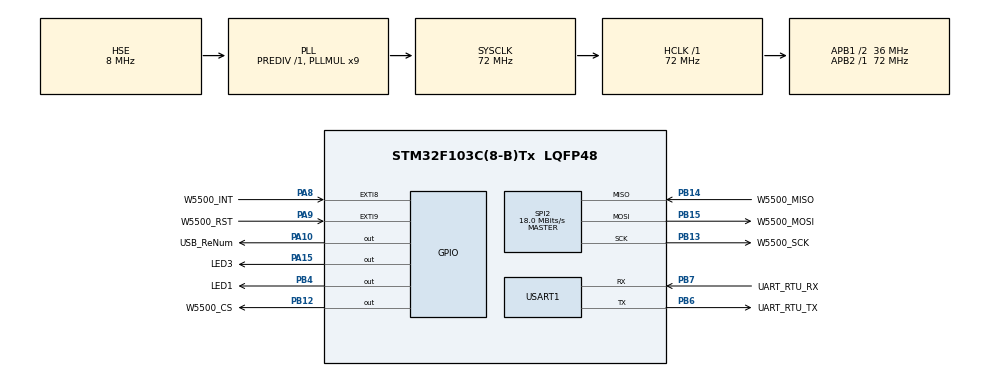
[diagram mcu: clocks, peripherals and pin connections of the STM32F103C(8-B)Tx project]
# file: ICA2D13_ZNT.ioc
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Dma.Request0=SPI2_RX
Dma.Request1=SPI2_TX
Dma.SPI2_RX.0.Direction=DMA_PERIPH_TO_MEMORY
Dma.SPI2_RX.0.Instance=DMA1_Channel4
Dma.SPI2_RX.0.MemDataAlignment=DMA_MDATAALIGN_BYTE
Dma.SPI2_RX.0.MemInc=DMA_MINC_ENABLE
Dma.SPI2_RX.0.Mode=DMA_NORMAL
Dma.SPI2_RX.0.PeriphDataAlignment=DMA_PDATAALIGN_BYTE
Dma.SPI2_RX.0.PeriphInc=DMA_PINC_DISABLE
Dma.SPI2_RX.0.Priority=DMA_PRIORITY_LOW
Dma.SPI2_TX.1.Direction=DMA_MEMORY_TO_PERIPH
Dma.SPI2_TX.1.Instance=DMA1_Channel5
Dma.SPI2_TX.1.MemDataAlignment=DMA_MDATAALIGN_BYTE
Dma.SPI2_TX.1.MemInc=DMA_MINC_ENABLE
Dma.SPI2_TX.1.Mode=DMA_NORMAL
Dma.SPI2_TX.1.PeriphDataAlignment=DMA_PDATAALIGN_BYTE
Dma.SPI2_TX.1.PeriphInc=DMA_PINC_DISABLE
Dma.SPI2_TX.1.Priority=DMA_PRIORITY_LOW
FREERTOS.HEAP_NUMBER=2
FREERTOS.Tasks01=defaultTask,24,256,StartDefaultTask,Default,NULL,Dynamic,NULL,NULL
FREERTOS.configTOTAL_HEAP_SIZE=5120
Mcu.Family=STM32F1
Mcu.Name=STM32F103C(8-B)Tx
Mcu.Package=LQFP48
Mcu.UserConstants=TIM_LED_PERIOD,1000-1;TIM_LED_PSC,72-1
NVIC.DMA1_Channel4_IRQn=true\:1\:0\:true\:false\:true\:false\:false\:true\:true
NVIC.DMA1_Channel5_IRQn=true\:1\:0\:true\:false\:true\:false\:false\:true\:true
NVIC.EXTI9_5_IRQn=true\:5\:0\:false\:false\:true\:true\:true\:true\:true
NVIC.PriorityGroup=NVIC_PRIORITYGROUP_4
NVIC.TIM4_IRQn=true\:15\:0\:false\:false\:true\:false\:false\:true\:true
NVIC.TimeBase=TIM4_IRQn
NVIC.TimeBaseIP=TIM4
NVIC.USART1_IRQn=true\:5\:0\:false\:false\:true\:true\:true\:true\:true
PA10.GPIO_Label=USB_ReNum
PA10.Signal=GPIO_Output
PA13.Mode=Serial_Wire
PA13.Signal=SYS_JTMS-SWDIO
PA14.Mode=Serial_Wire
PA14.Signal=SYS_JTCK-SWCLK
PA15.GPIO_Label=LED3
PA15.Signal=GPIO_Output
PA8.GPIO_Label=W5500_INT
PA8.Signal=GPXTI8
PA9.GPIO_Label=W5500_RST
PA9.GPIO_ModeDefaultEXTI=GPIO_MODE_IT_FALLING
PA9.GPIO_PuPd=GPIO_PULLUP
PA9.Signal=GPXTI9
PB12.GPIO_Label=W5500_CS
PB12.Signal=GPIO_Output
PB13.GPIO_Label=W5500_SCK
PB13.Mode=Full_Duplex_Master
PB13.Signal=SPI2_SCK
PB14.GPIO_Label=W5500_MISO
PB14.Mode=Full_Duplex_Master
PB14.Signal=SPI2_MISO
PB15.GPIO_Label=W5500_MOSI
PB15.Mode=Full_Duplex_Master
PB15.Signal=SPI2_MOSI
PB4.GPIO_Label=LED1
PB4.Signal=GPIO_Output
PB6.GPIO_Label=UART_RTU_TX
PB6.Mode=Asynchronous
PB6.Signal=USART1_TX
PB7.GPIO_Label=UART_RTU_RX
PB7.Mode=Asynchronous
PB7.Signal=USART1_RX
PD0-OSC_IN.Mode=HSE-External-Oscillator
PD0-OSC_IN.Signal=RCC_OSC_IN
PD1-OSC_OUT.Mode=HSE-External-Oscillator
PD1-OSC_OUT.Signal=RCC_OSC_OUT
ProjectManager.HeapSize=0x0000
ProjectManager.StackSize=0x1400
ProjectManager.TargetToolchain=Makefile
RCC.ADCPresc=RCC_ADCPCLK2_DIV6
RCC.AHBFreq_Value=72000000
RCC.APB1CLKDivider=RCC_HCLK_DIV2
RCC.APB1Freq_Value=36000000
RCC.APB1TimFreq_Value=72000000
RCC.APB2Freq_Value=72000000
RCC.APB2TimFreq_Value=72000000
RCC.HCLKFreq_Value=72000000
RCC.PLLMUL=RCC_PLL_MUL9
RCC.PLLSourceVirtual=RCC_PLLSOURCE_HSE
RCC.SYSCLKFreq_VALUE=72000000
RCC.SYSCLKSource=RCC_SYSCLKSOURCE_PLLCLK
RCC.USBFreq_Value=48000000
RCC.USBPrescaler=RCC_USBCLKSOURCE_PLL_DIV1_5
SPI2.BaudRatePrescaler=SPI_BAUDRATEPRESCALER_2
SPI2.CalculateBaudRate=18.0 MBits/s
SPI2.Direction=SPI_DIRECTION_2LINES
SPI2.Mode=SPI_MODE_MASTER
SPI2.VirtualType=VM_MASTER
TIM2.Period=TIM_LED_PERIOD
TIM2.Prescaler=TIM_LED_PSC
USART1.VirtualMode=VM_ASYNC
VP_FREERTOS_VS_CMSIS_V2.Mode=CMSIS_V2
VP_SYS_VS_tim4.Mode=TIM4
VP_TIM2_VS_ClockSourceINT.Mode=Internal
board=custom

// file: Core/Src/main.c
/* USER CODE BEGIN Header */
/**
  ******************************************************************************
  * @file           : main.c
  * @brief          : Main program body
  ******************************************************************************
  * @attention
  *
  * Copyright (c) 2022 STMicroelectronics.
  * All rights reserved.
  *
  * This software is licensed under terms that can be found in the LICENSE file
  * in the root directory of this software component.
  * If no LICENSE file comes with this software, it is provided AS-IS.
  *
  ******************************************************************************
  */
/* USER CODE END Header */
#include "main.h"
#include "cmsis_os.h"
#include "dma.h"
#include "spi.h"
#include "tim.h"
#include "usart.h"
#include "gpio.h"

/* USER CODE BEGIN Includes */
// #include "net.h"
// #include "enc28j60.h"

#include "Eth.h"
#include <string.h>
/* USER CODE END Includes */

void SystemClock_Config(void);
void MX_FREERTOS_Init(void);

/* USER CODE BEGIN 0 */

// wiz_NetInfo netInfoCheck;
// wiz_NetInfo netInfo = {.mac = {0x00, 0x08, 0xdc, 0xab, 0xcd, 0xef}, // Mac-адрес
//                          .ip = {192, 168, 0, 147}, // IP-адрес
//                          .sn = {255, 255, 255, 0}, // Маска подсети
//                          .gw = {192, 168, 0,   1}, // Адрес шлюза
//                          .dhcp = NETINFO_DHCP
//                          };

/* USER CODE END 0 */

int main(void)
{

  /* MCU Configuration--------------------------------------------------------*/

  /* Reset of all peripherals, Initializes the Flash interface and the Systick. */
  HAL_Init();

  /* Configure the system clock */
  SystemClock_Config();

  /* Initialize all configured peripherals */
  MX_GPIO_Init();
  MX_DMA_Init();
  MX_SPI2_Init();
  MX_TIM2_Init();
  MX_USART1_UART_Init();
  /* USER CODE BEGIN 2 */

  //LL_GPIO_SetOutputPin(O_D_Led_GPIO_Port, O_D_Led_Pin);

  MAIN_DBG_MCU_START();
  LL_GPIO_SetOutputPin(USB_ReNum_GPIO_Port,USB_ReNum_Pin);

  // char buf[20];
  // __IO char *token = strtok(buf, "&");
  // asm("NOP");
  // if(token != NULL){
  //   asm("NOP");
  // }
  /* USER CODE END 2 */

  /* Init scheduler */
  osKernelInitialize();  /* Call init function for freertos objects (in freertos.c) */
  MX_FREERTOS_Init();

  /* Start scheduler */
  osKernelStart();

  /* We should never get here as control is now taken by the scheduler */
  /* Infinite loop */
  /* USER CODE BEGIN WHILE */
  while (1)
  {

    // controlStateDHCP = DHCP_run();
    // switch (controlStateDHCP) {
    //         case DHCP_IP_ASSIGN:
    //             // usb_send_message("IP assigned\n");
    //             wizchip_getnetinfo(&netInfoCheck);
    //             asm("NOP");
    //             break;
    //         case DHCP_IP_CHANGED:
    //             // usb_send_message("IP changed\n");
    //             asm("NOP");
    //             break;
    //         case DHCP_IP_LEASED:
    //             // run_user_applications = true;
    //             wizchip_getnetinfo(&netInfoCheck);
    //             asm("NOP");
    //             break;
    //         case DHCP_FAILED:
    //             // usb_send_message("DHCP failed\n");
    //             asm("NOP");
    //             break;
    //         default:
    //             break;
    //     }

	  HAL_Delay(1);
	  // LL_GPIO_TogglePin(O_D_Led_GPIO_Port, O_D_Led_Pin);

    /* USER CODE END WHILE */

  }
}

void SystemClock_Config(void)
{
  RCC_OscInitTypeDef RCC_OscInitStruct = {0};
  RCC_ClkInitTypeDef RCC_ClkInitStruct = {0};

  /** Initializes the RCC Oscillators according to the specified parameters
  * in the RCC_OscInitTypeDef structure.
  */
  RCC_OscInitStruct.OscillatorType = RCC_OSCILLATORTYPE_HSE;
  RCC_OscInitStruct.HSEState = RCC_HSE_ON;
  RCC_OscInitStruct.HSEPredivValue = RCC_HSE_PREDIV_DIV1;
  RCC_OscInitStruct.HSIState = RCC_HSI_ON;
  RCC_OscInitStruct.PLL.PLLState = RCC_PLL_ON;
  RCC_OscInitStruct.PLL.PLLSource = RCC_PLLSOURCE_HSE;
  RCC_OscInitStruct.PLL.PLLMUL = RCC_PLL_MUL9;
  if (HAL_RCC_OscConfig(&RCC_OscInitStruct) != HAL_OK)
  {
    Error_Handler();
  }

  /** Initializes the CPU, AHB and APB buses clocks
  */
  RCC_ClkInitStruct.ClockType = RCC_CLOCKTYPE_HCLK|RCC_CLOCKTYPE_SYSCLK
                              |RCC_CLOCKTYPE_PCLK1|RCC_CLOCKTYPE_PCLK2;
  RCC_ClkInitStruct.SYSCLKSource = RCC_SYSCLKSOURCE_PLLCLK;
  RCC_ClkInitStruct.AHBCLKDivider = RCC_SYSCLK_DIV1;
  RCC_ClkInitStruct.APB1CLKDivider = RCC_HCLK_DIV2;
  RCC_ClkInitStruct.APB2CLKDivider = RCC_HCLK_DIV1;

  if (HAL_RCC_ClockConfig(&RCC_ClkInitStruct, FLASH_LATENCY_2) != HAL_OK)
  {
    Error_Handler();
  }
}

/* USER CODE BEGIN 4 */
void HAL_GPIO_EXTI_Callback(uint16_t GPIO_Pin){

  //LL_GPIO_TogglePin(O_D_Led_GPIO_Port, O_D_Led_Pin);

  asm("NOP");
}

#define ETH_DHCP_CHECK_TIME (1000)
#define LED_DHCP_BLINK_TIME (200)

void mainSysTicCallBack(){

    //LL_GPIO_TogglePin(O_D_Led_GPIO_Port, O_D_Led_Pin);

  //   if (((timLedDHCP++ % LED_DHCP_BLINK_TIME) == 0) &&
  //     timLedDHCP <= LED_DHCP_BLINK_TIME * (controlStateDHCP +1) * 2)
  // {
  //     HAL_GPIO_TogglePin(O_D_Led_GPIO_Port, O_D_Led_Pin);
  // }
  // else if (timLedDHCP > LED_DHCP_BLINK_TIME * DHCP_STOPPED * 4)
  // {
  //   timLedDHCP = 0;
  // }

}

/* USER CODE END 4 */

void HAL_TIM_PeriodElapsedCallback(TIM_HandleTypeDef *htim)
{
  if (htim->Instance == TIM4) {
    HAL_IncTick();
  }
}

void Error_Handler(void)
{
  /* USER CODE BEGIN Error_Handler_Debug */
  /* User can add his own implementation to report the HAL error return state */
  //__disable_irq();
  while (1)
  {
    HAL_Delay(100);
    //LL_GPIO_TogglePin(O_D_Led_GPIO_Port, O_D_Led_Pin);
  }
  /* USER CODE END Error_Handler_Debug */
}

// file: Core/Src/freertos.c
/* USER CODE BEGIN Header */
/**
 ******************************************************************************
 * File Name          : freertos.c
 * Description        : Code for freertos applications
 ******************************************************************************
 * @attention
 *
 * Copyright (c) 2023 STMicroelectronics.
 * All rights reserved.
 *
 * This software is licensed under terms that can be found in the LICENSE file
 * in the root directory of this software component.
 * If no LICENSE file comes with this software, it is provided AS-IS.
 *
 ******************************************************************************
 */
/* USER CODE END Header */

#include "FreeRTOS.h"
#include "task.h"
#include "main.h"
#include "cmsis_os.h"

/* USER CODE BEGIN Includes */
#include "Eth.h"
#include "BSP_ICA2D13.h"

#include "tim.h"
#include "usart.h"

#include "ModbusSS.h"
#include "ModbusConf.h"
#include "ModbusProtocol.h"
/* USER CODE END Includes */

/* USER CODE BEGIN PTD */
int32_t cbckModbusTcpServer(Eth_t_SocTcp *socket);

/* USER CODE END PTD */

/* USER CODE BEGIN PD */
/*---------------------MODBUS------------------------*/
// ModbusCoreTypedef modbusCore;
#define MODBUS_TCP_SERVER_SOC_CNT (4)
Eth_t_SocTcp tcpModbusSocket[MODBUS_TCP_SERVER_SOC_CNT];
uint8_t modbusBufRxTxTCP[MODBUS_SS_BUF_CNT];
#define MODBUS_TABLE_HOLDING_QUANT (MBP_reg_7 - MBP_reg_1 + 1)
uint16_t modbusHoldingBuf[MODBUS_TABLE_HOLDING_QUANT];

#define MDB_RTU_TX_SLACE_ID (1)
#define MDB_RTU_TX_FUNCTION (4)
#define MDB_RTU_TX_REG_ADRES (1)
#define MDB_RTU_TX_REG_QANT (5)
#define MDB_RTU_TX_COUNT_BYTE (8)

#define MDB_RTU_RX_COUNT_BYTE (5 + (MDB_RTU_TX_REG_QANT * 2))

uint8_t modbusBufTxRtu485[30];
uint8_t modbusBufRxRtu485[30];
uint8_t mdb_wait_rx_flag = 0;

uint16_t mdb_reg_buf[MDB_RTU_TX_REG_QANT] = {0};
uint16_t mdb_err_cnt = 0;
uint8_t  mdb_err_code = 0;

//--ModbusSS
ModbusSS_table_t modbusTableHolding1 = {
    .buf = (uint8_t *)modbusHoldingBuf,
    .quantity = MODBUS_TABLE_HOLDING_QUANT,
    .regNo = MBP_reg_1,
    .type = ModbusSS_Holding};

ModbusSS_table_t *modbusTables[1] = {&modbusTableHolding1};

void modbusHoldingReq(ModbusSS_table_t *table, uint16_t reg, uint16_t quantity);

ModbusSS_t modbusSS_tcp = {
    .bufRxTx = modbusBufRxTxTCP,
    .cbHoldingRequest = modbusHoldingReq,
    .rtuTcp = MODBUS_SS_TCP,
    .slaveId = 1,
    .tables = modbusTables,
    .tablesCount = 1};

/*---------------------MODBUS END------------------------*/

/* USER CODE END PD */

/* USER CODE BEGIN Variables */
osThreadId_t taskNetHandle;
const osThreadAttr_t taskNet_attributes = {
    .name = "taskNet",
    .stack_size = 256 * 4,
    .priority = (osPriority_t)osPriorityNormal,
};

osThreadId_t taskMdbHandle;
const osThreadAttr_t taskMdb_attributes = {
    .name = "taskMdb",
    .stack_size = 256 * 4,
    .priority = (osPriority_t)osPriorityNormal,
};

/* USER CODE END Variables */
/* Definitions for defaultTask */
osThreadId_t defaultTaskHandle;
const osThreadAttr_t defaultTask_attributes = {
    .name = "defaultTask",
    .stack_size = 256 * 4,
    .priority = (osPriority_t)osPriorityNormal,
};

/* USER CODE BEGIN FunctionPrototypes */
void taskNetEntry(void *argument);
void taskMdbEntry(void *argument);

__STATIC_INLINE uint16_t _Crc16_mdb(uint8_t *pcBlock, uint16_t len);

/* USER CODE END FunctionPrototypes */

void StartDefaultTask(void *argument);

void MX_FREERTOS_Init(void); /* (MISRA C 2004 rule 8.1) */

void MX_FREERTOS_Init(void)
{

  /* Create the thread(s) */
  /* creation of defaultTask */
  defaultTaskHandle = osThreadNew(StartDefaultTask, NULL, &defaultTask_attributes);

  /* USER CODE BEGIN RTOS_THREADS */
  taskNetHandle = osThreadNew(taskNetEntry, NULL, &taskNet_attributes);
  taskMdbHandle = osThreadNew(taskMdbEntry, NULL, &taskMdb_attributes);

  asm("NOP");
  /* USER CODE END RTOS_THREADS */

}

void StartDefaultTask(void *argument)
{
  /* USER CODE BEGIN StartDefaultTask */

  asm("NOP");

  // uint16_t state_DI = 0;
  // uint16_t state_AI[2];

  // HAL_UART_Receive_IT(&huart1, modbusBufRxTxRtu485,10);

  /* Infinite loop */
  for (;;)
  {
    // for (int i = BSP_DI1; i < BSP_DI_COUNT; i++)
    // {
    //     bsp_di_get(i);
    // }
    // asm("NOP");
    // bsp_ai_read();

    // LL_GPIO_TogglePin(O_D_Led_GPIO_Port, O_D_Led_Pin);
    osDelay(1);
  }
  /* USER CODE END StartDefaultTask */
}

/* USER CODE BEGIN Application */

//---------------------------------- NETWORK
void taskNetEntry(void *argument)
{
  /* USER CODE BEGIN taskLedEntry */

  if (Eth_f_Init() != SET)
  {
    Error_Handler();
  };

  /*---------------------MODBUS------------------------*/
  for (int i = 0; i < MODBUS_TCP_SERVER_SOC_CNT; i++)
  {
    tcpModbusSocket[i].hwSocNum = i;
    tcpModbusSocket[i].port = 502;
    tcpModbusSocket[i].bufRx = modbusBufRxTxTCP;
    tcpModbusSocket[i].bufTx = modbusBufRxTxTCP;
    tcpModbusSocket[i].bufRxLen = MODBUS_SS_BUF_CNT;
    tcpModbusSocket[i].bufTxLen = MODBUS_SS_BUF_CNT;
    tcpModbusSocket[i].cbfunc_pendingData = cbckModbusTcpServer;
    // tcpModbusSocket[i].echoMode = SET;
  }
  /*---------------------MODBUS END------------------------*/

  /* Infinite loop */
  for (;;)
  {

    for (int i = 0; i < MODBUS_TCP_SERVER_SOC_CNT; i++)
    {
      if (Eth_f_runTcpSrv(&tcpModbusSocket[i]) != SET)
      {
        Error_Handler();
      }
    }

    // BSP_LED2_G_TOGGLE();

    osDelay(1);
  }
  /* USER CODE END taskLedEntry */
}

int32_t cbckModbusTcpServer(Eth_t_SocTcp *socket)
{
  socket->exchangeState = state_res_inProc;
  socket->txFrameSize = ModbusSS_ParseRxData(&modbusSS_tcp);
  return 0;
}

void modbusHoldingReq(ModbusSS_table_t *table, uint16_t reg, uint16_t quantity)
{

  BSP_LED1_TOGGLE();
  if (table == &modbusTableHolding1)
  {
    for (int r = reg; r < reg + quantity; r++)
    {
      asm("NOP");
      switch (r)
      {
      case MBP_reg_1:
        ModbusSS_SetWord(table, r, mdb_reg_buf[0]);
        asm("NOP");
        break;
      case MBP_reg_2:
        ModbusSS_SetWord(table, r, mdb_reg_buf[1]);
        asm("NOP");
        break;
      case MBP_reg_3:
        ModbusSS_SetWord(table, r, mdb_reg_buf[2]);
        asm("NOP");
        break;
      case MBP_reg_4:
        ModbusSS_SetWord(table, r, mdb_reg_buf[3]);
        asm("NOP");
        break;
      case MBP_reg_5:
        ModbusSS_SetWord(table, r, mdb_reg_buf[4]);
        asm("NOP");
        break;
      case MBP_reg_6:
        ModbusSS_SetWord(table, r, mdb_err_cnt);
        asm("NOP");
        break;
      case MBP_reg_7:
        ModbusSS_SetWord(table, r, mdb_err_code);
        asm("NOP");
        break;
      default:
        break;
      }
    }
  }
}
//---------------------------------- NETWORK END

//---------------------------------- MODBUS RTU

#define MDB_RTU_TX_SCAN_RATE (250)
#define MDB_RTU_RX_RESPONS_TIMEOUT (2000)

enum userFlag
{
  flagReset = 0,
  flagSet = 1
};

enum Mdb_RTU_TX_buf_index
{
  adress_TX   = 0,
  function_TX = 1,
  adress_first_reg_HB_TX = 2,
  adress_first_reg_LB_TX = 3,
  count_reg_HB_TX = 4,
  count_reg_LB_TX = 5,
  CRC_LB_TX = 6,
  CRC_HB_TX = 7,
};

enum Mdb_RTU_err_name
{
  noErr   = 0,
  crc_no_corret = 3,
  timeout = 11
};

void taskMdbEntry(void *argument)
{
  /* USER CODE BEGIN taskMdbEntry */

  /* Infinite loop */

  for (;;)
  {
    static uint16_t mdb_req_time = 0;
    static uint16_t mdb_respons_timeout = 0;
    static uint16_t crc = 0;
    osDelay(1);

    if (mdb_wait_rx_flag == flagSet)
    {
      if (mdb_respons_timeout++ > MDB_RTU_RX_RESPONS_TIMEOUT)
      {
        HAL_UART_AbortReceive_IT(&huart1);
        mdb_wait_rx_flag = flagReset;
        mdb_respons_timeout = 0;
        mdb_err_cnt++;
        mdb_err_code = timeout;
      }
    }
    else if (mdb_req_time++ > MDB_RTU_TX_SCAN_RATE)
    {

      modbusBufTxRtu485[adress_TX] = MDB_RTU_TX_SLACE_ID;
      modbusBufTxRtu485[function_TX] = MDB_RTU_TX_FUNCTION;
      modbusBufTxRtu485[adress_first_reg_HB_TX] = 0x00;
      modbusBufTxRtu485[adress_first_reg_LB_TX] = MDB_RTU_TX_REG_ADRES;
      modbusBufTxRtu485[count_reg_HB_TX] = 0x00;
      modbusBufTxRtu485[count_reg_LB_TX] = MDB_RTU_TX_REG_QANT;
      crc = _Crc16_mdb(modbusBufTxRtu485, 6);
      modbusBufTxRtu485[CRC_LB_TX] = (uint8_t)crc;
      modbusBufTxRtu485[CRC_HB_TX] = (uint8_t)(crc >> 8);

      mdb_wait_rx_flag = flagSet;
      mdb_respons_timeout = 0;
      if (HAL_UART_Transmit(&huart1, modbusBufTxRtu485, MDB_RTU_TX_COUNT_BYTE, 2) == HAL_OK)
      {
        HAL_UART_Receive_IT(&huart1, modbusBufRxRtu485, MDB_RTU_RX_COUNT_BYTE);
      }
      mdb_req_time = 0;
    }
  }
  /* USER CODE END taskMdbEntry */
}

enum Mdb_RTU_RX_buf_index
{
  adress_RX   = 0,
  function_RX = 1,
  count_byte_RX = 2,

/*
reg data
*/

  CRC_LB_RX = count_byte_RX+1+MDB_RTU_TX_REG_QANT*2,
  CRC_HB_RX = CRC_LB_RX+1,
};

void HAL_UART_RxCpltCallback(UART_HandleTypeDef *huart)
{
  uint8_t mdb_err = noErr;
  uint16_t calculated_CRC = 0;
  uint16_t resive_CRC = 0;

  calculated_CRC = _Crc16_mdb(modbusBufRxRtu485, (MDB_RTU_RX_COUNT_BYTE-2));

  resive_CRC |= (uint16_t)(modbusBufRxRtu485[CRC_LB_RX]);
  resive_CRC |= (uint16_t)(modbusBufRxRtu485[CRC_HB_RX] << 8);

  if (calculated_CRC != resive_CRC)
  {
    mdb_err = crc_no_corret;
  }

  if (mdb_err_code == 0)
  {
    for (uint8_t i = 0; i < MDB_RTU_TX_REG_QANT; i++)
    {
      mdb_reg_buf[i] = 0;
    }

    for (uint8_t ind = (count_byte_RX+1), i = 0; i < MDB_RTU_TX_REG_QANT ; ind+=2, i++)
    {
      mdb_reg_buf[i] |= (uint16_t)(modbusBufRxRtu485[ind] << 8);
      mdb_reg_buf[i] |= (uint16_t)(modbusBufRxRtu485[ind+1]);
    }
  }

  mdb_wait_rx_flag = flagReset;
  BSP_LED3_TOGGLE();
  mdb_err_code = mdb_err;
}

__STATIC_INLINE uint16_t _Crc16_mdb(uint8_t *pcBlock, uint16_t len)
{
  uint16_t w = 0;
  uint8_t shift_cnt;

  w = 0xffffU;
  for (; len > 0; len--)
  {
    w = (uint16_t)((w / 256U) * 256U + ((w % 256U) ^ (*pcBlock++)));
    for (shift_cnt = 0; shift_cnt < 8; shift_cnt++)
    {
      if ((w & 0x1) == 1)
        w = (uint16_t)((w >> 1) ^ 0xa001U);
      else
        w >>= 1;
    }
  }
  return w;
}

/* USER CODE END Application */
